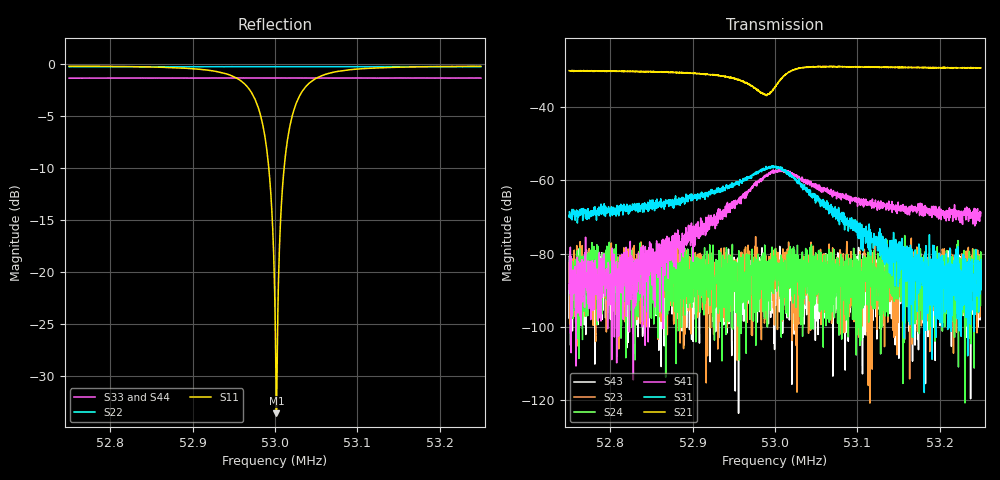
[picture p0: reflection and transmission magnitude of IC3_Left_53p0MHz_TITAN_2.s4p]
#  HZ  S  DB  R  50.00
! Rohde & Schwarz Vector Network Analyzer
! Rohde-Schwarz,ZNB8-4Port,1311601044102961,2.82
! Created: UTC 2/8/2019, 4:04:16 PM
! freq[Hz]  db:S11  ang:S11  db:S12  ang:S12  db:S13  ang:S13  db:S14  ang:S14
!  db:S21  ang:S21  db:S22  ang:S22  db:S23  ang:S23  db:S24  ang:S24
!  db:S31  ang:S31  db:S32  ang:S32  db:S33  ang:S33  db:S34  ang:S34
!  db:S41  ang:S41  db:S42  ang:S42  db:S43  ang:S43  db:S44  ang:S44
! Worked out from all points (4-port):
!   2001 points, 52.75 MHz to 53.25 MHz, reference 50 ohm
!   strongest paths, dB at 52.75 MHz, 52.875 MHz, 53 MHz, 53.125 MHz, 53.25 MHz:
!     S21: -30.0, -30.3, -34.4, -29.0, -29.2
!     S31: -69.6, -66.7, -56.2, -77.1, -81.6
!     S41: -89.6, -79.5, -57.4, -65.8, -68.8
!     S24: -80.8, -80.3, -85.9, -90.6, -86.0
!     S23: -87.6, -82.6, -79.9, -90.2, -85.5
!     S43: -88.6, -96.5, -86.3, -85.9, -86.3
!   lowest |S11| = -33.6 dB at 53.0018 MHz (marker M1), VSWR 1.04, Z = 49.2 + j1.91 ohm
!   |S11| at or under -10 dB: 52.99244 MHz to 53.01107 MHz (18.63 kHz wide, 0.0352 % of centre)
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5.275e7  -0.24 -62.1  -30.03 132.1  -69.11 -93.6  -84.38 -54.8
         -29.96 132.1  -0.30 146.3  -87.60 -113.5  -80.78 -71.1
         -69.56 -83.0  -88.48 133.5  -1.39 80.9  -81.18 -62.2
         -89.65 -79.8  -87.13 -72.3  -88.55 160.6  -1.35 75.3
5.296825e7  -2.40 -107.0  -33.59 117.1  -59.10 -122.2  -62.82 48.3
            -33.73 117.2  -0.29 142.0  -82.25 19.8  -92.60 -174.4
            -59.12 -120.7  -89.12 -20.9  -1.38 78.3  -86.26 -13.7
            -62.98 48.5  -83.91 149.7  -88.47 -98.2  -1.35 72.7
5.2991e7  -8.90 -139.7  -36.59 144.8  -56.99 -150.1  -58.49 19.5
          -36.50 144.8  -0.29 141.5  -83.13 -75.3  -86.84 172.7
          -56.56 -148.7  -82.96 -29.0  -1.38 78.1  -90.78 -55.6
          -58.80 23.7  -84.71 139.0  -87.38 21.1  -1.35 72.4
5.300175e7  -33.57 112.3  -33.89 164.7  -56.31 -170.5  -57.41 0.2
            -33.84 163.9  -0.30 141.3  -79.55 -2.2  -87.49 103.9
            -56.60 -170.8  -83.37 -45.1  -1.38 77.9  -93.68 -138.8
            -57.33 0.1  -93.74 -147.5  -85.62 -51.4  -1.34 72.3
5.30125e7  -8.92 2.7  -31.07 162.3  -57.55 166.0  -57.10 -22.2
           -31.10 162.7  -0.29 141.1  -79.60 -32.8  -91.32 149.5
           -57.43 168.2  -101.43 2.3  -1.38 77.8  -78.16 27.5
           -57.69 -23.8  -82.86 124.7  -92.06 125.2  -1.35 72.1
5.3035e7  -2.44 -29.7  -29.12 147.7  -61.68 134.3  -60.59 -54.4
          -29.07 147.5  -0.29 140.6  -93.85 94.6  -81.96 114.1
          -61.37 137.4  -82.14 27.0  -1.37 77.5  -82.92 -146.0
          -60.67 -55.8  -85.38 175.9  -89.69 118.8  -1.35 71.9
5.325e7  -0.26 -74.7  -29.22 121.1  -77.57 -92.2  -70.03 -82.9
         -29.18 120.4  -0.29 136.4  -85.45 -1.1  -86.02 161.8
         -81.64 -22.4  -94.88 -83.5  -1.38 75.0  -87.24 -27.2
         -68.77 -103.4  -80.97 154.7  -86.26 -45.3  -1.35 69.3
